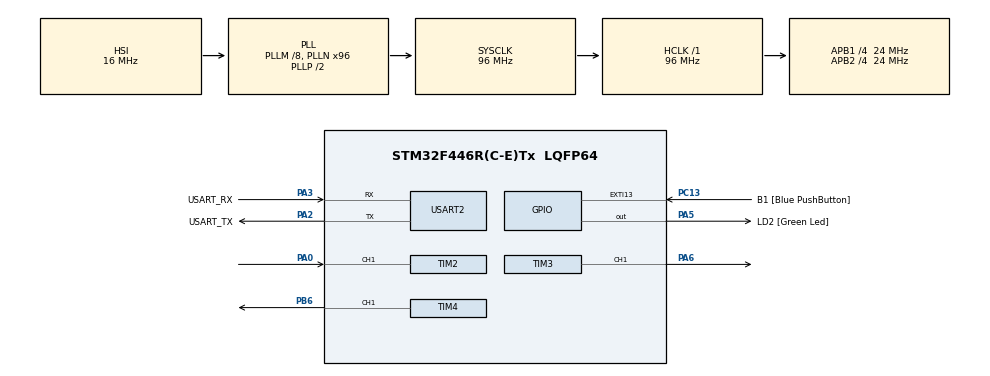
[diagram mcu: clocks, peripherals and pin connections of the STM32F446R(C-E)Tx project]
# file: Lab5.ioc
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Mcu.Family=STM32F4
Mcu.Name=STM32F446R(C-E)Tx
Mcu.Package=LQFP64
NVIC.PriorityGroup=NVIC_PRIORITYGROUP_0
NVIC.TIM2_IRQn=true\:0\:0\:false\:false\:true\:true\:true\:true
PA0-WKUP.Signal=S_TIM2_CH1_ETR
PA13.GPIO_Label=TMS
PA13.Mode=Serial_Wire
PA13.Signal=SYS_JTMS-SWDIO
PA14.GPIO_Label=TCK
PA14.Mode=Serial_Wire
PA14.Signal=SYS_JTCK-SWCLK
PA2.GPIO_Label=USART_TX
PA2.Mode=Asynchronous
PA2.Signal=USART2_TX
PA3.GPIO_Label=USART_RX
PA3.Mode=Asynchronous
PA3.Signal=USART2_RX
PA5.GPIO_Label=LD2 [Green Led]
PA5.Signal=GPIO_Output
PA6.Signal=S_TIM3_CH1
PB3.GPIO_Label=SWO
PB3.Signal=SYS_JTDO-SWO
PB6.Signal=S_TIM4_CH1
PC13.GPIO_Label=B1 [Blue PushButton]
PC13.GPIO_ModeDefaultEXTI=GPIO_MODE_IT_FALLING
PC13.Signal=GPXTI13
PC14-OSC32_IN.Mode=LSE-External-Oscillator
PC14-OSC32_IN.Signal=RCC_OSC32_IN
PC15-OSC32_OUT.Mode=LSE-External-Oscillator
PC15-OSC32_OUT.Signal=RCC_OSC32_OUT
PH0-OSC_IN.Mode=HSE-External-Oscillator
PH0-OSC_IN.Signal=RCC_OSC_IN
PH1-OSC_OUT.Mode=HSE-External-Oscillator
PH1-OSC_OUT.Signal=RCC_OSC_OUT
ProjectManager.HeapSize=0x200
ProjectManager.StackSize=0x400
ProjectManager.TargetToolchain=STM32CubeIDE
RCC.48MHZClocksFreq_Value=84000000
RCC.AHBFreq_Value=96000000
RCC.APB1CLKDivider=RCC_HCLK_DIV4
RCC.APB1Freq_Value=24000000
RCC.APB1TimFreq_Value=48000000
RCC.APB2CLKDivider=RCC_HCLK_DIV4
RCC.APB2Freq_Value=24000000
RCC.APB2TimFreq_Value=48000000
RCC.CortexFreq_Value=96000000
RCC.FLatency-AdvancedSettings=FLASH_LATENCY_3
RCC.HCLKFreq_Value=96000000
RCC.HSE_VALUE=8000000
RCC.HSI_VALUE=16000000
RCC.PLLM=8
RCC.PLLN=96
RCC.SYSCLKFreq_VALUE=96000000
RCC.SYSCLKSource=RCC_SYSCLKSOURCE_PLLCLK
RCC.USBFreq_Value=96000000
RCC.VCOOutputFreq_Value=192000000
SH.S_TIM2_CH1_ETR.0=TIM2_CH1,Input_Capture1_from_TI1
SH.S_TIM3_CH1.0=TIM3_CH1,PWM Generation1 CH1
SH.S_TIM4_CH1.0=TIM4_CH1,PWM Generation1 CH1
TIM2.AutoReloadPreload=TIM_AUTORELOAD_PRELOAD_ENABLE
TIM2.Channel-Input_Capture1_from_TI1=TIM_CHANNEL_1
TIM2.CounterMode=TIM_COUNTERMODE_UP
TIM2.Prescaler=48-1
TIM3.AutoReloadPreload=TIM_AUTORELOAD_PRELOAD_ENABLE
TIM3.Channel-PWM\ Generation1\ CH1=TIM_CHANNEL_1
TIM3.Period=499
TIM3.Prescaler=48000-1
TIM3.Pulse-PWM\ Generation1\ CH1=250
TIM4.Channel-PWM\ Generation1\ CH1=TIM_CHANNEL_1
TIM4.Period=998
TIM4.Prescaler=47999
TIM4.Pulse-PWM\ Generation1\ CH1=500
USART2.OverSampling=UART_OVERSAMPLING_8
USART2.VirtualMode=VM_ASYNC
VP_TIM2_VS_ClockSourceINT.Mode=Internal
board=NUCLEO-F446RE

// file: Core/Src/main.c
/* USER CODE BEGIN Header */
/**
  ******************************************************************************
  * @file           : main.c
  * @brief          : Main program body
  ******************************************************************************
  * @attention
  *
  * Copyright (c) 2026 STMicroelectronics.
  * All rights reserved.
  *
  * This software is licensed under terms that can be found in the LICENSE file
  * in the root directory of this software component.
  * If no LICENSE file comes with this software, it is provided AS-IS.
  *
  ******************************************************************************
  */
/* USER CODE END Header */
#include "main.h"

/* USER CODE BEGIN Includes */
#include "stdint.h"
#include "stdio.h"
/* USER CODE END Includes */

/* USER CODE BEGIN PD */
#define ftimclk 1000000
/* USER CODE END PD */

TIM_HandleTypeDef htim2;
TIM_HandleTypeDef htim3;
TIM_HandleTypeDef htim4;

UART_HandleTypeDef huart2;

/* USER CODE BEGIN PV */
uint8_t flagmedicion =0;
volatile uint8_t numflanco=0;
volatile uint16_t flanco1=0;
volatile uint16_t flanco2=0;

char array[16];

uint16_t delta=0;
float frecuencia;
/* USER CODE END PV */

void SystemClock_Config(void);
static void MX_GPIO_Init(void);
static void MX_TIM2_Init(void);
static void MX_USART2_UART_Init(void);
static void MX_TIM3_Init(void);
static void MX_TIM4_Init(void);

int main(void)
{

  /* MCU Configuration--------------------------------------------------------*/

  /* Reset of all peripherals, Initializes the Flash interface and the Systick. */
  HAL_Init();

  /* Configure the system clock */
  SystemClock_Config();

  /* Initialize all configured peripherals */
  MX_GPIO_Init();
  MX_TIM2_Init();
  MX_USART2_UART_Init();
  MX_TIM3_Init();
  MX_TIM4_Init();
  /* USER CODE BEGIN 2 */
  uint8_t test[]= "\r\n";
  HAL_UART_Transmit(&huart2, test, sizeof(test), HAL_MAX_DELAY);
  HAL_TIM_PWM_Start(&htim3, TIM_CHANNEL_1);
  HAL_TIM_PWM_Start(&htim4, TIM_CHANNEL_1);
  /* USER CODE END 2 */

  /* Infinite loop */
  /* USER CODE BEGIN WHILE */
  while (1)
  {
	  HAL_TIM_IC_Start_IT(&htim2, TIM_CHANNEL_1); // Habilitamos la interrupcion del canal 1 del timer 2.
	  while(flagmedicion==0){

	  }
	  flagmedicion=0;

	  delta= flanco2-flanco1;
	  frecuencia=(ftimclk/ (float)delta);

	  snprintf (array, sizeof(array), "%2f", frecuencia);
	  HAL_UART_Transmit(&huart2, (uint8_t*)array, sizeof(array),HAL_MAX_DELAY);
	  uint8_t test[]= "\r\n";
	  HAL_UART_Transmit(&huart2, test, sizeof(test), HAL_MAX_DELAY);
    /* USER CODE END WHILE */

  }
}

void SystemClock_Config(void)
{
  RCC_OscInitTypeDef RCC_OscInitStruct = {0};
  RCC_ClkInitTypeDef RCC_ClkInitStruct = {0};

  /** Configure the main internal regulator output voltage
  */
  __HAL_RCC_PWR_CLK_ENABLE();
  __HAL_PWR_VOLTAGESCALING_CONFIG(PWR_REGULATOR_VOLTAGE_SCALE3);

  /** Initializes the RCC Oscillators according to the specified parameters
  * in the RCC_OscInitTypeDef structure.
  */
  RCC_OscInitStruct.OscillatorType = RCC_OSCILLATORTYPE_HSI;
  RCC_OscInitStruct.HSIState = RCC_HSI_ON;
  RCC_OscInitStruct.HSICalibrationValue = RCC_HSICALIBRATION_DEFAULT;
  RCC_OscInitStruct.PLL.PLLState = RCC_PLL_ON;
  RCC_OscInitStruct.PLL.PLLSource = RCC_PLLSOURCE_HSI;
  RCC_OscInitStruct.PLL.PLLM = 8;
  RCC_OscInitStruct.PLL.PLLN = 96;
  RCC_OscInitStruct.PLL.PLLP = RCC_PLLP_DIV2;
  RCC_OscInitStruct.PLL.PLLQ = 2;
  RCC_OscInitStruct.PLL.PLLR = 2;
  if (HAL_RCC_OscConfig(&RCC_OscInitStruct) != HAL_OK)
  {
    Error_Handler();
  }

  /** Initializes the CPU, AHB and APB buses clocks
  */
  RCC_ClkInitStruct.ClockType = RCC_CLOCKTYPE_HCLK|RCC_CLOCKTYPE_SYSCLK
                              |RCC_CLOCKTYPE_PCLK1|RCC_CLOCKTYPE_PCLK2;
  RCC_ClkInitStruct.SYSCLKSource = RCC_SYSCLKSOURCE_PLLCLK;
  RCC_ClkInitStruct.AHBCLKDivider = RCC_SYSCLK_DIV1;
  RCC_ClkInitStruct.APB1CLKDivider = RCC_HCLK_DIV4;
  RCC_ClkInitStruct.APB2CLKDivider = RCC_HCLK_DIV4;

  if (HAL_RCC_ClockConfig(&RCC_ClkInitStruct, FLASH_LATENCY_3) != HAL_OK)
  {
    Error_Handler();
  }
}

static void MX_TIM2_Init(void)
{

  TIM_ClockConfigTypeDef sClockSourceConfig = {0};
  TIM_MasterConfigTypeDef sMasterConfig = {0};
  TIM_IC_InitTypeDef sConfigIC = {0};

  htim2.Instance = TIM2;
  htim2.Init.Prescaler = 48-1;
  htim2.Init.CounterMode = TIM_COUNTERMODE_UP;
  htim2.Init.Period = 4294967295;
  htim2.Init.ClockDivision = TIM_CLOCKDIVISION_DIV1;
  htim2.Init.AutoReloadPreload = TIM_AUTORELOAD_PRELOAD_ENABLE;
  if (HAL_TIM_Base_Init(&htim2) != HAL_OK)
  {
    Error_Handler();
  }
  sClockSourceConfig.ClockSource = TIM_CLOCKSOURCE_INTERNAL;
  if (HAL_TIM_ConfigClockSource(&htim2, &sClockSourceConfig) != HAL_OK)
  {
    Error_Handler();
  }
  if (HAL_TIM_IC_Init(&htim2) != HAL_OK)
  {
    Error_Handler();
  }
  sMasterConfig.MasterOutputTrigger = TIM_TRGO_RESET;
  sMasterConfig.MasterSlaveMode = TIM_MASTERSLAVEMODE_DISABLE;
  if (HAL_TIMEx_MasterConfigSynchronization(&htim2, &sMasterConfig) != HAL_OK)
  {
    Error_Handler();
  }
  sConfigIC.ICPolarity = TIM_INPUTCHANNELPOLARITY_RISING;
  sConfigIC.ICSelection = TIM_ICSELECTION_DIRECTTI;
  sConfigIC.ICPrescaler = TIM_ICPSC_DIV1;
  sConfigIC.ICFilter = 0;
  if (HAL_TIM_IC_ConfigChannel(&htim2, &sConfigIC, TIM_CHANNEL_1) != HAL_OK)
  {
    Error_Handler();
  }

}

static void MX_TIM3_Init(void)
{

  TIM_MasterConfigTypeDef sMasterConfig = {0};
  TIM_OC_InitTypeDef sConfigOC = {0};

  htim3.Instance = TIM3;
  htim3.Init.Prescaler = 48000-1;
  htim3.Init.CounterMode = TIM_COUNTERMODE_UP;
  htim3.Init.Period = 499;
  htim3.Init.ClockDivision = TIM_CLOCKDIVISION_DIV1;
  htim3.Init.AutoReloadPreload = TIM_AUTORELOAD_PRELOAD_ENABLE;
  if (HAL_TIM_PWM_Init(&htim3) != HAL_OK)
  {
    Error_Handler();
  }
  sMasterConfig.MasterOutputTrigger = TIM_TRGO_RESET;
  sMasterConfig.MasterSlaveMode = TIM_MASTERSLAVEMODE_DISABLE;
  if (HAL_TIMEx_MasterConfigSynchronization(&htim3, &sMasterConfig) != HAL_OK)
  {
    Error_Handler();
  }
  sConfigOC.OCMode = TIM_OCMODE_PWM1;
  sConfigOC.Pulse = 250;
  sConfigOC.OCPolarity = TIM_OCPOLARITY_HIGH;
  sConfigOC.OCFastMode = TIM_OCFAST_DISABLE;
  if (HAL_TIM_PWM_ConfigChannel(&htim3, &sConfigOC, TIM_CHANNEL_1) != HAL_OK)
  {
    Error_Handler();
  }
  HAL_TIM_MspPostInit(&htim3);

}

static void MX_TIM4_Init(void)
{

  TIM_MasterConfigTypeDef sMasterConfig = {0};
  TIM_OC_InitTypeDef sConfigOC = {0};

  htim4.Instance = TIM4;
  htim4.Init.Prescaler = 47999;
  htim4.Init.CounterMode = TIM_COUNTERMODE_UP;
  htim4.Init.Period = 998;
  htim4.Init.ClockDivision = TIM_CLOCKDIVISION_DIV1;
  htim4.Init.AutoReloadPreload = TIM_AUTORELOAD_PRELOAD_DISABLE;
  if (HAL_TIM_PWM_Init(&htim4) != HAL_OK)
  {
    Error_Handler();
  }
  sMasterConfig.MasterOutputTrigger = TIM_TRGO_RESET;
  sMasterConfig.MasterSlaveMode = TIM_MASTERSLAVEMODE_DISABLE;
  if (HAL_TIMEx_MasterConfigSynchronization(&htim4, &sMasterConfig) != HAL_OK)
  {
    Error_Handler();
  }
  sConfigOC.OCMode = TIM_OCMODE_PWM1;
  sConfigOC.Pulse = 500;
  sConfigOC.OCPolarity = TIM_OCPOLARITY_HIGH;
  sConfigOC.OCFastMode = TIM_OCFAST_DISABLE;
  if (HAL_TIM_PWM_ConfigChannel(&htim4, &sConfigOC, TIM_CHANNEL_1) != HAL_OK)
  {
    Error_Handler();
  }
  HAL_TIM_MspPostInit(&htim4);

}

static void MX_USART2_UART_Init(void)
{

  huart2.Instance = USART2;
  huart2.Init.BaudRate = 115200;
  huart2.Init.WordLength = UART_WORDLENGTH_8B;
  huart2.Init.StopBits = UART_STOPBITS_1;
  huart2.Init.Parity = UART_PARITY_NONE;
  huart2.Init.Mode = UART_MODE_TX_RX;
  huart2.Init.HwFlowCtl = UART_HWCONTROL_NONE;
  huart2.Init.OverSampling = UART_OVERSAMPLING_8;
  if (HAL_UART_Init(&huart2) != HAL_OK)
  {
    Error_Handler();
  }

}

static void MX_GPIO_Init(void)
{
  GPIO_InitTypeDef GPIO_InitStruct = {0};

  /* GPIO Ports Clock Enable */
  __HAL_RCC_GPIOC_CLK_ENABLE();
  __HAL_RCC_GPIOH_CLK_ENABLE();
  __HAL_RCC_GPIOA_CLK_ENABLE();
  __HAL_RCC_GPIOB_CLK_ENABLE();

  /*Configure GPIO pin Output Level */
  HAL_GPIO_WritePin(LD2_GPIO_Port, LD2_Pin, GPIO_PIN_RESET);

  /*Configure GPIO pin : B1_Pin */
  GPIO_InitStruct.Pin = B1_Pin;
  GPIO_InitStruct.Mode = GPIO_MODE_IT_FALLING;
  GPIO_InitStruct.Pull = GPIO_NOPULL;
  HAL_GPIO_Init(B1_GPIO_Port, &GPIO_InitStruct);

  /*Configure GPIO pin : LD2_Pin */
  GPIO_InitStruct.Pin = LD2_Pin;
  GPIO_InitStruct.Mode = GPIO_MODE_OUTPUT_PP;
  GPIO_InitStruct.Pull = GPIO_NOPULL;
  GPIO_InitStruct.Speed = GPIO_SPEED_FREQ_LOW;
  HAL_GPIO_Init(LD2_GPIO_Port, &GPIO_InitStruct);

}

/* USER CODE BEGIN 4 */
void HAL_TIM_IC_CaptureCallback(TIM_HandleTypeDef *htim){
	if(numflanco==0){
		flanco1=HAL_TIM_ReadCapturedValue(htim, TIM_CHANNEL_1);
		numflanco=1;
	} else{
		flanco2=HAL_TIM_ReadCapturedValue(htim, TIM_CHANNEL_1);
		HAL_TIM_IC_Stop(&htim2, TIM_CHANNEL_1);

		numflanco=0;
		flagmedicion=1;
	}
}
/* USER CODE END 4 */

void Error_Handler(void)
{
  __disable_irq();
  while (1)
  {
  }
}
